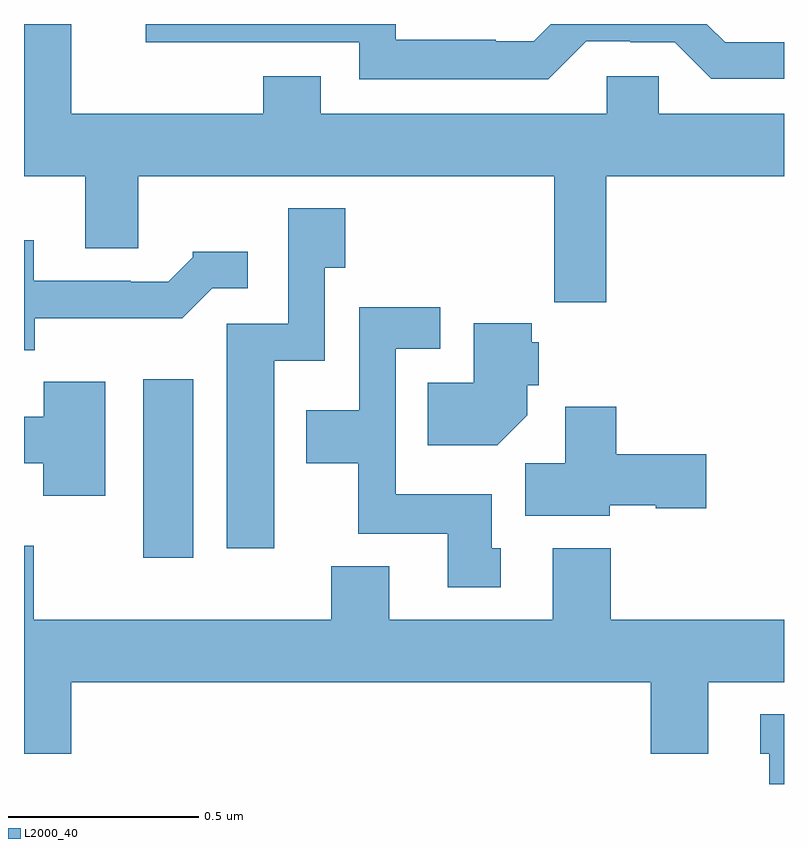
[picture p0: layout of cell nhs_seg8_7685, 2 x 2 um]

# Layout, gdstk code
import gdstk
lib = gdstk.Library(unit=1e-6, precision=1e-09)
def R(c, l, rs):  # rectangles x0, y0, x1, y1
    for r in rs: c.add(gdstk.rectangle(r[:2], r[2:], *l))
def P(c, l, *ps):  # polygons
    for p in ps: c.add(gdstk.Polygon(p, *l))
L2000_40 = (2000, 40)

nhs_seg8_7685 = lib.new_cell('nhs_seg8_7685')
R(nhs_seg8_7685, L2000_40, [(213.314,1115.496,213.445,1115.965)])
P(nhs_seg8_7685, L2000_40, [(213,1116.9),(213,1116.5),(213.161,1116.5),(213.161,1116.31),(213.301,1116.31),(213.301,1116.5),(214.396,1116.5),(214.396,1116.168),(214.532,1116.168),(214.532,1116.5),(215,1116.5),(215,1116.664),(214.671,1116.664),(214.671,1116.762),(214.533,1116.762),(214.533,1116.664),(213.781,1116.664),(213.781,1116.763),(213.629,1116.763),(213.629,1116.664),(213.124,1116.664),(213.124,1116.9)],
  [(214.479,1116.855),(214.595,1116.855),(214.595,1116.852),(214.713,1116.852),(214.809,1116.756),(215,1116.756),(215,1116.852),(214.845,1116.852),(214.797,1116.9),(214.386,1116.9),(214.341,1116.855),(214.241,1116.855),(214.241,1116.859),(213.978,1116.859),(213.978,1116.9),(213.321,1116.9),(213.321,1116.852),(213.882,1116.852),(213.882,1116.755),(214.379,1116.755)],
  [(213.658,1116.014),(213.792,1116.014),(213.792,1116.259),(213.845,1116.259),(213.845,1116.415),(213.696,1116.415),(213.696,1116.111),(213.533,1116.111),(213.533,1115.52),(213.658,1115.52)],
  [(213.028,1116.126),(213.417,1116.126),(213.495,1116.204),(213.589,1116.204),(213.589,1116.301),(213.444,1116.301),(213.444,1116.286),(213.38,1116.222),(213.281,1116.222),(213.281,1116.225),(213.025,1116.225),(213.025,1116.331),(213,1116.331),(213,1116.041),(213.028,1116.041)],
  [(214.255,1115.52),(214.231,1115.52),(214.231,1115.662),(213.978,1115.662),(213.978,1116.045),(214.096,1116.045),(214.096,1116.154),(213.882,1116.154),(213.882,1115.884),(213.743,1115.884),(213.743,1115.744),(213.88,1115.744),(213.88,1115.558),(214.115,1115.558),(214.115,1115.418),(214.255,1115.418)],
  [(214.324,1115.87),(214.324,1115.949),(214.355,1115.949),(214.355,1116.063),(214.336,1116.063),(214.336,1116.113),(214.184,1116.113),(214.184,1115.956),(214.063,1115.956),(214.063,1115.792),(214.246,1115.792)],
  [(213.214,1115.959),(213.052,1115.959),(213.052,1115.866),(213,1115.866),(213,1115.744),(213.05,1115.744),(213.05,1115.658),(213.214,1115.658)],
  [(214.542,1115.633),(214.662,1115.633),(214.662,1115.626),(214.795,1115.626),(214.795,1115.768),(214.559,1115.768),(214.559,1115.893),(214.424,1115.893),(214.424,1115.744),(214.319,1115.744),(214.319,1115.606),(214.542,1115.606)],
  [(214.801,1115.168),(215,1115.168),(215,1115.332),(214.544,1115.332),(214.544,1115.521),(214.391,1115.521),(214.391,1115.332),(213.961,1115.332),(213.961,1115.473),(213.809,1115.473),(213.809,1115.332),(213.025,1115.332),(213.025,1115.527),(213,1115.527),(213,1114.98),(213.124,1114.98),(213.124,1115.168),(214.649,1115.168),(214.649,1114.979),(214.801,1114.979)],
  [(215,1115.083),(214.937,1115.083),(214.937,1114.98),(214.961,1114.98),(214.961,1114.9),(215,1114.9)])

lib.write_gds('nhs_seg8_7685.gds')
